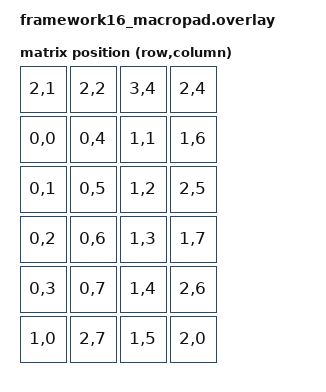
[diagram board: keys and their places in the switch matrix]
/*
 * Copyright (c) 2025 The ZMK Contributors
 *
 * SPDX-License-Identifier: MIT
 */

#include "framework16.dtsi"

#include <dt-bindings/zmk/matrix_transform.h>

/ {
    chosen {
        zmk,matrix-transform = &macropad_transform;
    };
    macropad_transform: macropad_transform {
        compatible = "zmk,matrix-transform";
        columns = <8>;
        rows = <4>;
        map = <
        // (row, col)
        RC(2,1) RC(2,2) RC(3,4) RC(2,4)
        RC(0,0) RC(0,4) RC(1,1) RC(1,6)
        RC(0,1) RC(0,5) RC(1,2) RC(2,5)
        RC(0,2) RC(0,6) RC(1,3) RC(1,7)
        RC(0,3) RC(0,7) RC(1,4) RC(2,6)
        RC(1,0) RC(2,7) RC(1,5) RC(2,0)
        >;
    };
};
